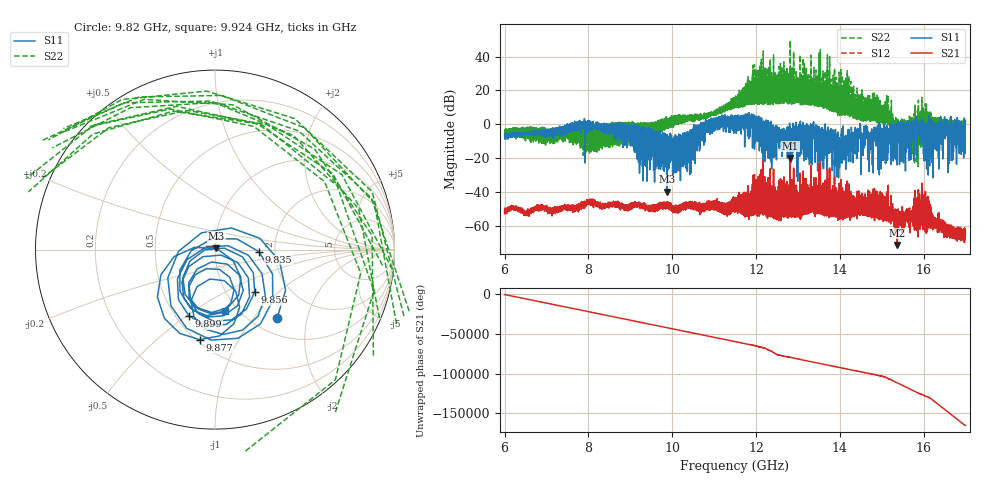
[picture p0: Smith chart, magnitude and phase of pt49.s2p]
#  HZ  S  RI  R  50.00
! Rohde & Schwarz Vector Network Analyzer
! Rohde-Schwarz,ZNA67-2Port,1332450062101215,3.01
! Created: UTC 10/16/2026, 9:42:09 AM
! freq[Hz]  re:S11  im:S11  re:S21  im:S21  re:S12  im:S12  re:S22  im:S22
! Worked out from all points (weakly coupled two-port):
!   11001 points, 6 GHz to 17 GHz, reference 50 ohm
!   highest |S21| = -20.02 dB at 12.82 GHz (marker M1); lowest = -71.4 dB at 15.37 GHz (marker M2)
!   lowest |S11| = -39.9 dB at 9.87 GHz (marker M3), VSWR 1.02, Z = 50.7 + j0.745 ohm
!   |S11| at or under -10 dB: 14.00341 GHz to 14.03122 GHz (27.8 MHz wide, 0.198 % of centre); 14.16575 GHz to 14.19088 GHz (25.13 MHz wide, 0.177 % of centre); 14.22513 GHz to 14.24841 GHz (23.28 MHz wide, 0.163 % of centre) (the widest 3 of 396)
!   |S22| runs from -25.1 to 49.6 dB; largest |S21 - S12| = 0.087
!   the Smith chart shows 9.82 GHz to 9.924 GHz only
!   S11 on the Smith chart (normalised r, x): 9.82 GHz: 1.28, -1.33; 9.835 GHz: 1.65, -0.04; 9.856 GHz: 1.35, -0.71; 9.877 GHz: 0.52, -0.70; 9.899 GHz: 0.58, -0.51; 9.924 GHz: 0.87, -0.68
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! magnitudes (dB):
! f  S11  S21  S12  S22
! 6 GHz  -6.6  -51.1  -51.1  -5.8
! 7.834 GHz  0.6  -46.7  -46.5  -4.3
! 9.667 GHz  -5.3  -48.2  -48.4  1.1
! 9.82 GHz  -5.8  -47.3  -47.5  1.6
! 9.835 GHz  -12.2  -46.9  -47.2  1.3
! 9.856 GHz  -9.8  -47.3  -47.6  4.4
! 9.87 GHz  -39.9  -46.2  -46.4  1.8
! 9.877 GHz  -5.9  -49.0  -49.3  1.5
! 9.899 GHz  -8.0  -49.1  -49.4  0.9
! 9.924 GHz  -9.2  -48.6  -49.0  2.6
! 11.5 GHz  4.8  -49.5  -49.4  11.2
! 12.82 GHz  -2.6  -20.0  -20.1  49.6
! 13.33 GHz  -22.9  -48.4  -48.2  14.5
! 13.97 GHz  -10.7  -43.9  -43.7  18.9
! 15.17 GHz  -4.2  -48.7  -48.4  7.3
! 15.37 GHz  -6.3  -71.4  -72.1  -0.3
! 15.61 GHz  0.0  -55.4  -55.0  -10.4
! 15.85 GHz  -8.7  -60.2  -60.5  -14.0
! 16.05 GHz  -1.2  -43.0  -43.2  7.1
! 16.52 GHz  -4.1  -60.5  -60.5  0.7
! 16.9 GHz  -9.2  -61.4  -61.7  1.7
! 17 GHz  2.2  -66.1  -65.0  0.8
